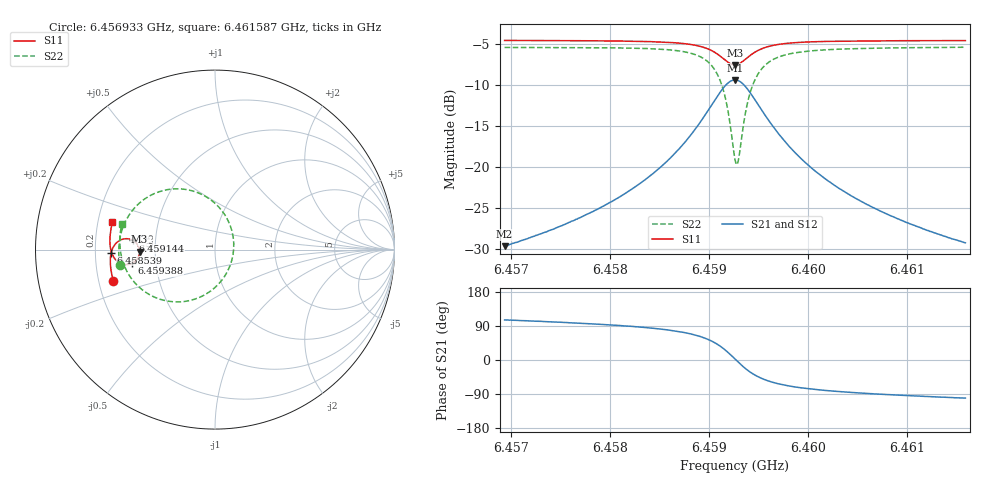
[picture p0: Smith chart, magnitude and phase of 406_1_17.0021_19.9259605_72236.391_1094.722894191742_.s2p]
#  HZ  S  RI  R  50.00
! Rohde & Schwarz Vector Network Analyzer
! Rohde-Schwarz,ZNB20-2Port,1311601062101988,3.16
! Created: UTC 3/20/2024, 11:10:14 PM
! freq[Hz]  re:S11  im:S11  re:S21  im:S21  re:S12  im:S12  re:S22  im:S22
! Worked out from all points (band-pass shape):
!   401 points, 6.456933 GHz to 6.461587 GHz, reference 50 ohm
!   highest |S21| = -9.35 dB at 6.45926 GHz (marker M1); lowest = -29.6 dB at 6.456933 GHz (marker M2)
!   |S21| within 3 dB of the highest: 6.459027 GHz to 6.459493 GHz (465.7 kHz wide, 0.00721 % of centre)
!   lowest |S11| = -7.5 dB at 6.45926 GHz (marker M3), VSWR 2.45, Z = 20.4 - j0.553 ohm
!   |S11| at or under -10 dB: nowhere
!   |S22| runs from -19.6 to -5.4 dB; largest |S21 - S12| = 0.013
!   S11 on the Smith chart (normalised r, x): 6.456933 GHz: 0.26, -0.14; 6.458539 GHz: 0.27, -0.01; 6.459144 GHz: 0.37, +0.05; 6.459388 GHz: 0.37, -0.07; 6.461587 GHz: 0.26, +0.12
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6.4569331e9  -0.5657 -0.1756  -0.00896 0.0319  -0.00739 0.0319  -0.5298 -0.0886
6.4577126e9  -0.5802 -0.1078  -0.00584 0.0496  -0.00331 0.0491  -0.5361 0.00156
6.4581431e9  -0.5834 -0.0648  1.57e-06 0.0689  0.00319 0.0676  -0.5285 0.0689
6.4584922e9  -0.5799 -0.0233  0.0134 0.0974  0.0174 0.0948  -0.5039 0.1464
6.4585387e9  -0.5785 -0.0171  0.0169 0.1029  0.0209 0.0999  -0.4976 0.1594
6.4587481e9  -0.5664 0.0146  0.0424 0.1342  0.0467 0.1296  -0.4497 0.2306
6.4588994e9  -0.5455 0.0409  0.0846 0.1642  0.0879 0.1578  -0.3723 0.2945
6.4590506e9  -0.4998 0.0606  0.1753 0.1834  0.1763 0.1761  -0.2066 0.3386
6.4591437e9  -0.4559 0.0509  0.2639 0.1529  0.2644 0.147  -0.0424 0.2899
6.4591903e9  -0.4349 0.0323  0.3071 0.1107  0.3085 0.1055  0.0396 0.2152
6.4592601e9  -0.4203 -0.0112  0.3404 0.0152  0.3439 0.00847  0.1044 0.0386
6.4592717e9  -0.4206 -0.0191  0.3403 -0.00234  0.3439 -0.00976  0.1042 0.00551
6.459295e9  -0.4241 -0.0345  0.3349 -0.0365  0.3386 -0.0452  0.0937 -0.0593
6.4593415e9  -0.4394 -0.0601  0.3071 -0.0956  0.3092 -0.1074  0.0376 -0.1709
6.4593881e9  -0.4611 -0.0761  0.2657 -0.1363  0.2649 -0.1492  -0.0458 -0.2451
6.4594811e9  -0.5039 -0.0828  0.1822 -0.1674  0.1762 -0.1787  -0.2118 -0.2915
6.4596324e9  -0.5472 -0.0625  0.0956 -0.1542  0.0872 -0.1602  -0.377 -0.2437
6.4597953e9  -0.5686 -0.0348  0.0512 -0.1268  0.0437 -0.1296  -0.4566 -0.1727
6.4600396e9  -0.5812 0.000713  0.0223 -0.0957  0.0165 -0.0964  -0.5045 -0.0916
6.4604003e9  -0.5857 0.0431  0.0061 -0.0687  0.00197 -0.0683  -0.5264 -0.0108
6.4608191e9  -0.5836 0.0848  -0.00128 -0.0512  -0.00408 -0.0504  -0.5303 0.055
6.461587e9  -0.5712 0.1525  -0.00633 -0.0342  -0.0081 -0.0332  -0.5188 0.1447
